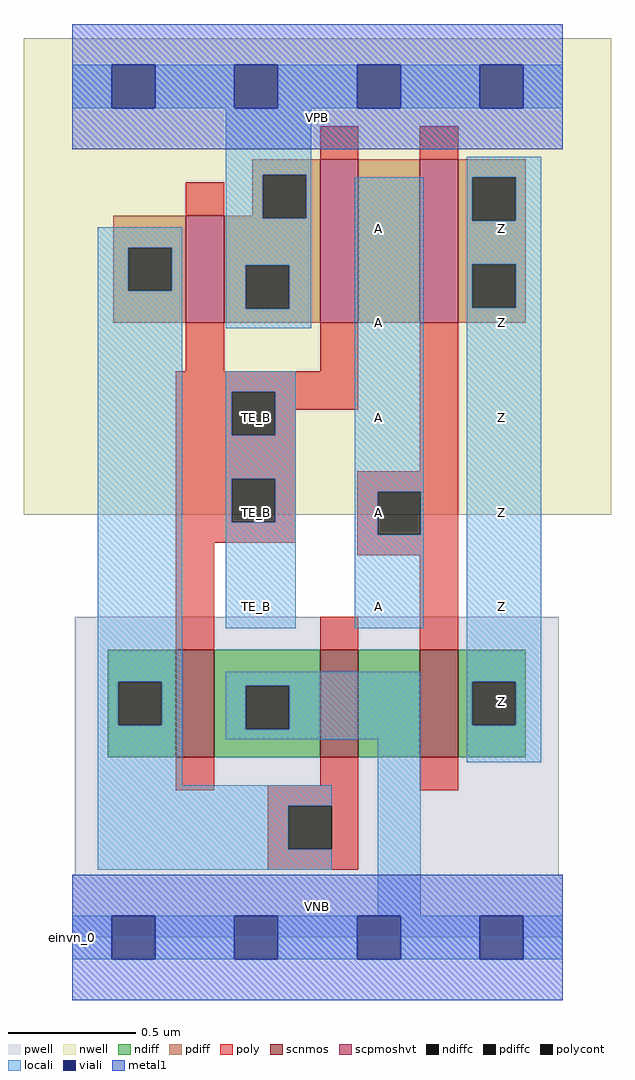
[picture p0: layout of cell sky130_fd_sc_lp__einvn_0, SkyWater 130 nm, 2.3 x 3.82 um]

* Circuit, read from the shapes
.subckt sky130_fd_sc_lp__einvn_0 A TE_B VGND VNB VPB VPWR Z
XM1 VGND TE_B n1 VNB sky130_fd_pr__nfet_01v8 w=0.42 l=0.15
XM2 n2 n1 VGND VNB sky130_fd_pr__nfet_01v8 w=0.42 l=0.15
XM3 Z A n2 VNB sky130_fd_pr__nfet_01v8 w=0.42 l=0.15
XM4 VPWR TE_B n1 VPB sky130_fd_pr__pfet_01v8_hvt w=0.42 l=0.15
XM5 n3 TE_B VPWR VPB sky130_fd_pr__pfet_01v8_hvt w=0.64 l=0.15
XM6 Z A n3 VPB sky130_fd_pr__pfet_01v8_hvt w=0.64 l=0.15
.ends

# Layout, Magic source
magic
tech sky130A
magscale 1 2
<< nwell >>
rect -38 331 422 704
<< pwell >>
rect 2 49 381 251
rect 0 0 384 49
<< scnmos >>
rect 81 141 111 225
rect 194 141 224 225
rect 272 141 302 225
<< scpmoshvt >>
rect 89 481 119 565
rect 194 481 224 609
rect 272 481 302 609
<< ndiff >>
rect 28 200 81 225
rect 28 166 36 200
rect 70 166 81 200
rect 28 141 81 166
rect 111 197 194 225
rect 111 163 136 197
rect 170 163 194 197
rect 111 141 194 163
rect 224 141 272 225
rect 302 200 355 225
rect 302 166 313 200
rect 347 166 355 200
rect 302 141 355 166
<< pdiff >>
rect 141 597 194 609
rect 141 565 149 597
rect 32 540 89 565
rect 32 506 44 540
rect 78 506 89 540
rect 32 481 89 506
rect 119 563 149 565
rect 183 563 194 597
rect 119 526 194 563
rect 119 492 136 526
rect 170 492 194 526
rect 119 481 194 492
rect 224 481 272 609
rect 302 595 355 609
rect 302 561 313 595
rect 347 561 355 595
rect 302 527 355 561
rect 302 493 313 527
rect 347 493 355 527
rect 302 481 355 493
<< ndiffc >>
rect 36 166 70 200
rect 136 163 170 197
rect 313 166 347 200
<< pdiffc >>
rect 44 506 78 540
rect 149 563 183 597
rect 136 492 170 526
rect 313 561 347 595
rect 313 493 347 527
<< poly >>
rect 194 609 224 635
rect 272 609 302 635
rect 89 565 119 591
rect 89 443 119 481
rect 194 443 224 481
rect 81 427 224 443
rect 81 393 125 427
rect 159 413 224 427
rect 159 393 175 413
rect 81 359 175 393
rect 272 365 302 481
rect 81 325 125 359
rect 159 325 175 359
rect 81 309 175 325
rect 223 349 302 365
rect 223 315 239 349
rect 273 315 302 349
rect 81 225 111 309
rect 223 299 302 315
rect 194 225 224 251
rect 272 225 302 299
rect 81 115 111 141
rect 194 119 224 141
rect 153 103 224 119
rect 272 115 302 141
rect 153 69 169 103
rect 203 69 224 103
rect 153 53 224 69
<< polycont >>
rect 125 393 159 427
rect 125 325 159 359
rect 239 315 273 349
rect 169 69 203 103
<< locali >>
rect 0 649 31 683
rect 65 649 127 683
rect 161 649 223 683
rect 257 649 319 683
rect 353 649 384 683
rect 120 597 187 649
rect 120 563 149 597
rect 183 563 187 597
rect 309 595 367 611
rect 20 540 86 556
rect 20 506 44 540
rect 78 506 86 540
rect 20 200 86 506
rect 120 526 187 563
rect 120 492 136 526
rect 170 492 187 526
rect 120 477 187 492
rect 120 427 175 443
rect 120 393 125 427
rect 159 393 175 427
rect 120 359 175 393
rect 120 325 125 359
rect 159 325 175 359
rect 120 242 175 325
rect 221 349 275 595
rect 221 315 239 349
rect 273 315 275 349
rect 221 242 275 315
rect 309 561 313 595
rect 347 561 367 595
rect 309 527 367 561
rect 309 493 313 527
rect 347 493 367 527
rect 20 166 36 200
rect 70 166 86 200
rect 20 119 86 166
rect 120 197 273 208
rect 120 163 136 197
rect 170 163 273 197
rect 120 155 273 163
rect 20 103 203 119
rect 20 69 169 103
rect 20 53 203 69
rect 239 17 273 155
rect 309 200 367 493
rect 309 166 313 200
rect 347 166 367 200
rect 309 137 367 166
rect 0 -17 31 17
rect 65 -17 127 17
rect 161 -17 223 17
rect 257 -17 319 17
rect 353 -17 384 17
<< viali >>
rect 31 649 65 683
rect 127 649 161 683
rect 223 649 257 683
rect 319 649 353 683
rect 31 -17 65 17
rect 127 -17 161 17
rect 223 -17 257 17
rect 319 -17 353 17
<< metal1 >>
rect 0 683 384 715
rect 0 649 31 683
rect 65 649 127 683
rect 161 649 223 683
rect 257 649 319 683
rect 353 649 384 683
rect 0 617 384 649
rect 0 17 384 49
rect 0 -17 31 17
rect 65 -17 127 17
rect 161 -17 223 17
rect 257 -17 319 17
rect 353 -17 384 17
rect 0 -49 384 -17
<< labels >>
flabel pwell s 0 0 384 49 0 FreeSans 200 0 0 0 VNB
port 4 nsew ground bidirectional
flabel nwell s 0 617 384 666 0 FreeSans 200 0 0 0 VPB
port 5 nsew power bidirectional
rlabel comment s 0 0 0 0 4 einvn_0
flabel metal1 s 0 617 384 666 0 FreeSans 340 0 0 0 VPWR
port 6 nsew power bidirectional
flabel metal1 s 0 0 384 49 0 FreeSans 340 0 0 0 VGND
port 3 nsew ground bidirectional
flabel locali s 223 242 257 276 0 FreeSans 340 0 0 0 A
port 1 nsew signal input
flabel locali s 223 316 257 350 0 FreeSans 340 0 0 0 A
port 1 nsew signal input
flabel locali s 223 390 257 424 0 FreeSans 340 0 0 0 A
port 1 nsew signal input
flabel locali s 223 464 257 498 0 FreeSans 340 0 0 0 A
port 1 nsew signal input
flabel locali s 223 538 257 572 0 FreeSans 340 0 0 0 A
port 1 nsew signal input
flabel locali s 127 242 161 276 0 FreeSans 340 0 0 0 TE_B
port 2 nsew signal input
flabel locali s 127 316 161 350 0 FreeSans 340 0 0 0 TE_B
port 2 nsew signal input
flabel locali s 127 390 161 424 0 FreeSans 340 0 0 0 TE_B
port 2 nsew signal input
flabel locali s 319 168 353 202 0 FreeSans 340 0 0 0 Z
port 7 nsew signal output
flabel locali s 319 242 353 276 0 FreeSans 340 0 0 0 Z
port 7 nsew signal output
flabel locali s 319 316 353 350 0 FreeSans 340 0 0 0 Z
port 7 nsew signal output
flabel locali s 319 390 353 424 0 FreeSans 340 0 0 0 Z
port 7 nsew signal output
flabel locali s 319 464 353 498 0 FreeSans 340 0 0 0 Z
port 7 nsew signal output
flabel locali s 319 538 353 572 0 FreeSans 340 0 0 0 Z
port 7 nsew signal output
<< properties >>
string LEFsite unit
string LEFclass CORE
string FIXED_BBOX 0 0 384 666
string GDS_FILE $PDKPATH/libs.ref/sky130_fd_sc_lp/gds/sky130_fd_sc_lp.gds
string LEFsymmetry X Y R90
string GDS_END 3996994
string GDS_START 3991658
<< end >>
